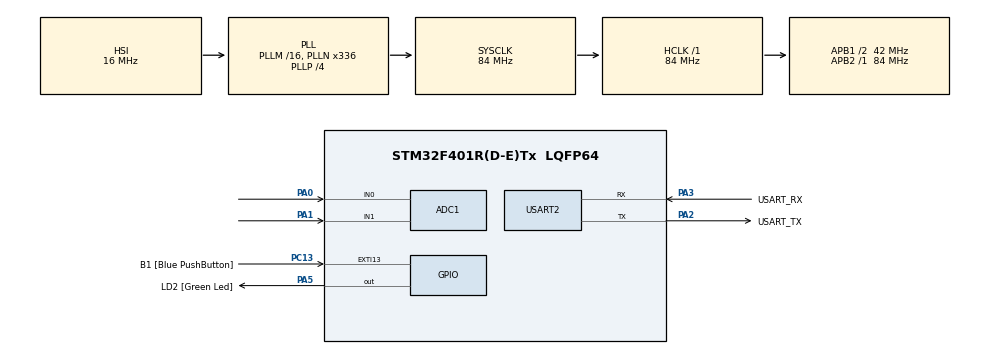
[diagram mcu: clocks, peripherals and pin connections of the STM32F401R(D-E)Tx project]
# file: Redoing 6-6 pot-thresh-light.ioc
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ADC1.Channel-0\#ChannelRegularConversion=ADC_CHANNEL_0
ADC1.Channel-1\#ChannelRegularConversion=ADC_CHANNEL_1
ADC1.ContinuousConvMode=DISABLE
ADC1.DMAContinuousRequests=ENABLE
ADC1.EOCSelection=ADC_EOC_SEQ_CONV
ADC1.ExternalTrigConv=ADC_EXTERNALTRIGCONV_T3_TRGO
ADC1.NbrOfConversion=2
ADC1.NbrOfConversionFlag=1
ADC1.Rank-0\#ChannelRegularConversion=1
ADC1.Rank-1\#ChannelRegularConversion=2
ADC1.SamplingTime-0\#ChannelRegularConversion=ADC_SAMPLETIME_56CYCLES
ADC1.SamplingTime-1\#ChannelRegularConversion=ADC_SAMPLETIME_480CYCLES
ADC1.master=1
Dma.ADC1.0.Direction=DMA_PERIPH_TO_MEMORY
Dma.ADC1.0.FIFOMode=DMA_FIFOMODE_DISABLE
Dma.ADC1.0.Instance=DMA2_Stream0
Dma.ADC1.0.MemDataAlignment=DMA_MDATAALIGN_HALFWORD
Dma.ADC1.0.MemInc=DMA_MINC_ENABLE
Dma.ADC1.0.Mode=DMA_CIRCULAR
Dma.ADC1.0.PeriphDataAlignment=DMA_PDATAALIGN_HALFWORD
Dma.ADC1.0.PeriphInc=DMA_PINC_DISABLE
Dma.ADC1.0.Priority=DMA_PRIORITY_HIGH
Dma.Request0=ADC1
Mcu.Family=STM32F4
Mcu.Name=STM32F401R(D-E)Tx
Mcu.Package=LQFP64
NVIC.ADC_IRQn=true\:0\:0\:false\:false\:true\:true\:true\:true
NVIC.DMA2_Stream0_IRQn=true\:0\:0\:false\:false\:true\:false\:true\:true
NVIC.PriorityGroup=NVIC_PRIORITYGROUP_0
NVIC.TIM3_IRQn=true\:0\:0\:false\:false\:true\:true\:true\:true
NVIC.USART2_IRQn=true\:0\:0\:false\:false\:true\:true\:true\:true
PA0-WKUP.Signal=ADCx_IN0
PA1.Signal=ADCx_IN1
PA13.GPIO_Label=TMS
PA13.Mode=Serial_Wire
PA13.Signal=SYS_JTMS-SWDIO
PA14.GPIO_Label=TCK
PA14.Mode=Serial_Wire
PA14.Signal=SYS_JTCK-SWCLK
PA2.GPIO_Label=USART_TX
PA2.GPIO_Mode=GPIO_MODE_AF_PP
PA2.GPIO_PuPd=GPIO_NOPULL
PA2.GPIO_Speed=GPIO_SPEED_FREQ_LOW
PA2.Mode=Asynchronous
PA2.Signal=USART2_TX
PA3.GPIO_Label=USART_RX
PA3.GPIO_Mode=GPIO_MODE_AF_PP
PA3.GPIO_PuPd=GPIO_NOPULL
PA3.GPIO_Speed=GPIO_SPEED_FREQ_LOW
PA3.Mode=Asynchronous
PA3.Signal=USART2_RX
PA5.GPIO_Label=LD2 [Green Led]
PA5.GPIO_Mode=GPIO_MODE_OUTPUT_PP
PA5.GPIO_PuPd=GPIO_NOPULL
PA5.GPIO_Speed=GPIO_SPEED_FREQ_LOW
PA5.Signal=GPIO_Output
PB3.GPIO_Label=SWO
PB3.Signal=SYS_JTDO-SWO
PC13-ANTI_TAMP.GPIO_Label=B1 [Blue PushButton]
PC13-ANTI_TAMP.GPIO_ModeDefaultEXTI=GPIO_MODE_IT_FALLING
PC13-ANTI_TAMP.GPIO_PuPd=GPIO_NOPULL
PC13-ANTI_TAMP.Signal=GPXTI13
PC14-OSC32_IN.Mode=LSE-External-Oscillator
PC14-OSC32_IN.Signal=RCC_OSC32_IN
PC15-OSC32_OUT.Mode=LSE-External-Oscillator
PC15-OSC32_OUT.Signal=RCC_OSC32_OUT
PH0\ -\ OSC_IN.Mode=HSE-External-Clock-Source
PH0\ -\ OSC_IN.Signal=RCC_OSC_IN
PH1\ -\ OSC_OUT.Mode=HSE-External-Clock-Source
PH1\ -\ OSC_OUT.Signal=RCC_OSC_OUT
ProjectManager.HeapSize=0x200
ProjectManager.StackSize=0x400
ProjectManager.TargetToolchain=STM32CubeIDE
RCC.48MHZClocksFreq_Value=48000000
RCC.AHBFreq_Value=84000000
RCC.APB1CLKDivider=RCC_HCLK_DIV2
RCC.APB1Freq_Value=42000000
RCC.APB1TimFreq_Value=84000000
RCC.APB2Freq_Value=84000000
RCC.APB2TimFreq_Value=84000000
RCC.CortexFreq_Value=84000000
RCC.HCLKFreq_Value=84000000
RCC.HSE_VALUE=8000000
RCC.HSI_VALUE=16000000
RCC.PLLN=336
RCC.PLLP=RCC_PLLP_DIV4
RCC.PLLQ=7
RCC.SYSCLKFreq_VALUE=84000000
RCC.SYSCLKSource=RCC_SYSCLKSOURCE_PLLCLK
RCC.VCOOutputFreq_Value=336000000
SH.ADCx_IN0.0=ADC1_IN0,IN0
SH.ADCx_IN1.0=ADC1_IN1,IN1
TIM3.Period=10-1
TIM3.Prescaler=8400-1
TIM3.TIM_MasterOutputTrigger=TIM_TRGO_UPDATE
USART2.VirtualMode=VM_ASYNC
VP_TIM3_VS_ClockSourceINT.Mode=Internal
board=NUCLEO-F401RE

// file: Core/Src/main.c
/* USER CODE BEGIN Header */
/**
 ******************************************************************************
 * @file           : main.c
 * @brief          : Main program body
 ******************************************************************************
 * @attention
 *
 * Copyright (c) 2023 STMicroelectronics.
 * All rights reserved.
 *
 * This software is licensed under terms that can be found in the LICENSE file
 * in the root directory of this software component.
 * If no LICENSE file comes with this software, it is provided AS-IS.
 *
 ******************************************************************************
 */
/* USER CODE END Header */
#include "main.h"

/* USER CODE BEGIN Includes */
#include <string.h>
#include <stdio.h>
#include <math.h>
/* USER CODE END Includes */

ADC_HandleTypeDef hadc1;
DMA_HandleTypeDef hdma_adc1;

TIM_HandleTypeDef htim3;

UART_HandleTypeDef huart2;

/* USER CODE BEGIN PV */
#define SAMPS 100
uint16_t x[SAMPS*2];
double avg_lux = 0;
double avg_pot = 0;

void HAL_ADC_ConvHalfCpltCallback(ADC_HandleTypeDef *hadc) { //each half cycle we do the median
	// ADC conversion complete callback
	if (hadc == &hadc1) {
		for (int i = 0; i < SAMPS; i+=2) {
			avg_lux += (float)x[i]  / SAMPS;
			avg_pot += (float)x[i+1]/ SAMPS;
		}
	}

}

void HAL_ADC_ConvCpltCallback(ADC_HandleTypeDef *hadc) {
	// ADC conversion complete callback
	if (hadc == &hadc1) {
		for (int i = SAMPS; i < SAMPS*2; i+=2) {
			avg_lux += (float)x[i]  / SAMPS;
			avg_pot += (float)x[i+1]/ SAMPS;

		}
		char string[128];
		float Vadc = (avg_lux / 4096.0 * 3.3);
		float LDR = (Vadc * 100000)/(3.3-Vadc);
		float lux = 10 * pow(100000/LDR, 1.25);

		snprintf(string, sizeof(string), "Lux: %.3f\t %.3f\r\n", 1 - avg_lux/4096.0, avg_pot/4096.0);
		HAL_UART_Transmit(&huart2, (uint8_t*) string, strlen(string), 100);

		if((4096.0 - avg_lux)> avg_pot){
			HAL_GPIO_WritePin(GPIOA, GPIO_PIN_5, 1);
		}else{
			HAL_GPIO_WritePin(GPIOA, GPIO_PIN_5, 0);
		}
		avg_lux = 0;
		avg_pot = 0;

	}
}

/* USER CODE END PV */

void SystemClock_Config(void);
static void MX_GPIO_Init(void);
static void MX_DMA_Init(void);
static void MX_USART2_UART_Init(void);
static void MX_ADC1_Init(void);
static void MX_TIM3_Init(void);

int main(void)
{

  /* MCU Configuration--------------------------------------------------------*/

  /* Reset of all peripherals, Initializes the Flash interface and the Systick. */
  HAL_Init();

  /* Configure the system clock */
  SystemClock_Config();

  /* Initialize all configured peripherals */
  MX_GPIO_Init();
  MX_DMA_Init();
  MX_USART2_UART_Init();
  MX_ADC1_Init();
  MX_TIM3_Init();
  /* USER CODE BEGIN 2 */

  if(HAL_ADC_Start_DMA(&hadc1, (uint32_t*)x, sizeof(x)/sizeof(x[0])) != HAL_OK)
	  Error_Handler();
  if(HAL_TIM_Base_Start(&htim3) != HAL_OK)
	  Error_Handler();

  /* USER CODE END 2 */

  /* Infinite loop */
	while (1) {

	}
}

void SystemClock_Config(void)
{
  RCC_OscInitTypeDef RCC_OscInitStruct = {0};
  RCC_ClkInitTypeDef RCC_ClkInitStruct = {0};

  /** Configure the main internal regulator output voltage
  */
  __HAL_RCC_PWR_CLK_ENABLE();
  __HAL_PWR_VOLTAGESCALING_CONFIG(PWR_REGULATOR_VOLTAGE_SCALE2);

  /** Initializes the RCC Oscillators according to the specified parameters
  * in the RCC_OscInitTypeDef structure.
  */
  RCC_OscInitStruct.OscillatorType = RCC_OSCILLATORTYPE_HSI;
  RCC_OscInitStruct.HSIState = RCC_HSI_ON;
  RCC_OscInitStruct.HSICalibrationValue = RCC_HSICALIBRATION_DEFAULT;
  RCC_OscInitStruct.PLL.PLLState = RCC_PLL_ON;
  RCC_OscInitStruct.PLL.PLLSource = RCC_PLLSOURCE_HSI;
  RCC_OscInitStruct.PLL.PLLM = 16;
  RCC_OscInitStruct.PLL.PLLN = 336;
  RCC_OscInitStruct.PLL.PLLP = RCC_PLLP_DIV4;
  RCC_OscInitStruct.PLL.PLLQ = 7;
  if (HAL_RCC_OscConfig(&RCC_OscInitStruct) != HAL_OK)
  {
    Error_Handler();
  }

  /** Initializes the CPU, AHB and APB buses clocks
  */
  RCC_ClkInitStruct.ClockType = RCC_CLOCKTYPE_HCLK|RCC_CLOCKTYPE_SYSCLK
                              |RCC_CLOCKTYPE_PCLK1|RCC_CLOCKTYPE_PCLK2;
  RCC_ClkInitStruct.SYSCLKSource = RCC_SYSCLKSOURCE_PLLCLK;
  RCC_ClkInitStruct.AHBCLKDivider = RCC_SYSCLK_DIV1;
  RCC_ClkInitStruct.APB1CLKDivider = RCC_HCLK_DIV2;
  RCC_ClkInitStruct.APB2CLKDivider = RCC_HCLK_DIV1;

  if (HAL_RCC_ClockConfig(&RCC_ClkInitStruct, FLASH_LATENCY_2) != HAL_OK)
  {
    Error_Handler();
  }
}

static void MX_ADC1_Init(void)
{

  ADC_ChannelConfTypeDef sConfig = {0};

  /** Configure the global features of the ADC (Clock, Resolution, Data Alignment and number of conversion)
  */
  hadc1.Instance = ADC1;
  hadc1.Init.ClockPrescaler = ADC_CLOCK_SYNC_PCLK_DIV4;
  hadc1.Init.Resolution = ADC_RESOLUTION_12B;
  hadc1.Init.ScanConvMode = ENABLE;
  hadc1.Init.ContinuousConvMode = DISABLE;
  hadc1.Init.DiscontinuousConvMode = DISABLE;
  hadc1.Init.ExternalTrigConvEdge = ADC_EXTERNALTRIGCONVEDGE_RISING;
  hadc1.Init.ExternalTrigConv = ADC_EXTERNALTRIGCONV_T3_TRGO;
  hadc1.Init.DataAlign = ADC_DATAALIGN_RIGHT;
  hadc1.Init.NbrOfConversion = 2;
  hadc1.Init.DMAContinuousRequests = ENABLE;
  hadc1.Init.EOCSelection = ADC_EOC_SEQ_CONV;
  if (HAL_ADC_Init(&hadc1) != HAL_OK)
  {
    Error_Handler();
  }

  /** Configure for the selected ADC regular channel its corresponding rank in the sequencer and its sample time.
  */
  sConfig.Channel = ADC_CHANNEL_0;
  sConfig.Rank = 1;
  sConfig.SamplingTime = ADC_SAMPLETIME_56CYCLES;
  if (HAL_ADC_ConfigChannel(&hadc1, &sConfig) != HAL_OK)
  {
    Error_Handler();
  }

  /** Configure for the selected ADC regular channel its corresponding rank in the sequencer and its sample time.
  */
  sConfig.Channel = ADC_CHANNEL_1;
  sConfig.Rank = 2;
  sConfig.SamplingTime = ADC_SAMPLETIME_480CYCLES;
  if (HAL_ADC_ConfigChannel(&hadc1, &sConfig) != HAL_OK)
  {
    Error_Handler();
  }

}

static void MX_TIM3_Init(void)
{

  TIM_ClockConfigTypeDef sClockSourceConfig = {0};
  TIM_MasterConfigTypeDef sMasterConfig = {0};

  htim3.Instance = TIM3;
  htim3.Init.Prescaler = 8400-1;
  htim3.Init.CounterMode = TIM_COUNTERMODE_UP;
  htim3.Init.Period = 10-1;
  htim3.Init.ClockDivision = TIM_CLOCKDIVISION_DIV1;
  htim3.Init.AutoReloadPreload = TIM_AUTORELOAD_PRELOAD_DISABLE;
  if (HAL_TIM_Base_Init(&htim3) != HAL_OK)
  {
    Error_Handler();
  }
  sClockSourceConfig.ClockSource = TIM_CLOCKSOURCE_INTERNAL;
  if (HAL_TIM_ConfigClockSource(&htim3, &sClockSourceConfig) != HAL_OK)
  {
    Error_Handler();
  }
  sMasterConfig.MasterOutputTrigger = TIM_TRGO_UPDATE;
  sMasterConfig.MasterSlaveMode = TIM_MASTERSLAVEMODE_DISABLE;
  if (HAL_TIMEx_MasterConfigSynchronization(&htim3, &sMasterConfig) != HAL_OK)
  {
    Error_Handler();
  }

}

static void MX_USART2_UART_Init(void)
{

  huart2.Instance = USART2;
  huart2.Init.BaudRate = 115200;
  huart2.Init.WordLength = UART_WORDLENGTH_8B;
  huart2.Init.StopBits = UART_STOPBITS_1;
  huart2.Init.Parity = UART_PARITY_NONE;
  huart2.Init.Mode = UART_MODE_TX_RX;
  huart2.Init.HwFlowCtl = UART_HWCONTROL_NONE;
  huart2.Init.OverSampling = UART_OVERSAMPLING_16;
  if (HAL_UART_Init(&huart2) != HAL_OK)
  {
    Error_Handler();
  }

}

static void MX_DMA_Init(void)
{

  /* DMA controller clock enable */
  __HAL_RCC_DMA2_CLK_ENABLE();

  /* DMA interrupt init */
  /* DMA2_Stream0_IRQn interrupt configuration */
  HAL_NVIC_SetPriority(DMA2_Stream0_IRQn, 0, 0);
  HAL_NVIC_EnableIRQ(DMA2_Stream0_IRQn);

}

static void MX_GPIO_Init(void)
{
  GPIO_InitTypeDef GPIO_InitStruct = {0};

  /* GPIO Ports Clock Enable */
  __HAL_RCC_GPIOC_CLK_ENABLE();
  __HAL_RCC_GPIOH_CLK_ENABLE();
  __HAL_RCC_GPIOA_CLK_ENABLE();
  __HAL_RCC_GPIOB_CLK_ENABLE();

  /*Configure GPIO pin Output Level */
  HAL_GPIO_WritePin(LD2_GPIO_Port, LD2_Pin, GPIO_PIN_RESET);

  /*Configure GPIO pin : B1_Pin */
  GPIO_InitStruct.Pin = B1_Pin;
  GPIO_InitStruct.Mode = GPIO_MODE_IT_FALLING;
  GPIO_InitStruct.Pull = GPIO_NOPULL;
  HAL_GPIO_Init(B1_GPIO_Port, &GPIO_InitStruct);

  /*Configure GPIO pin : LD2_Pin */
  GPIO_InitStruct.Pin = LD2_Pin;
  GPIO_InitStruct.Mode = GPIO_MODE_OUTPUT_PP;
  GPIO_InitStruct.Pull = GPIO_NOPULL;
  GPIO_InitStruct.Speed = GPIO_SPEED_FREQ_LOW;
  HAL_GPIO_Init(LD2_GPIO_Port, &GPIO_InitStruct);

}

void Error_Handler(void)
{
	__disable_irq();
	while (1) {
	}
}
